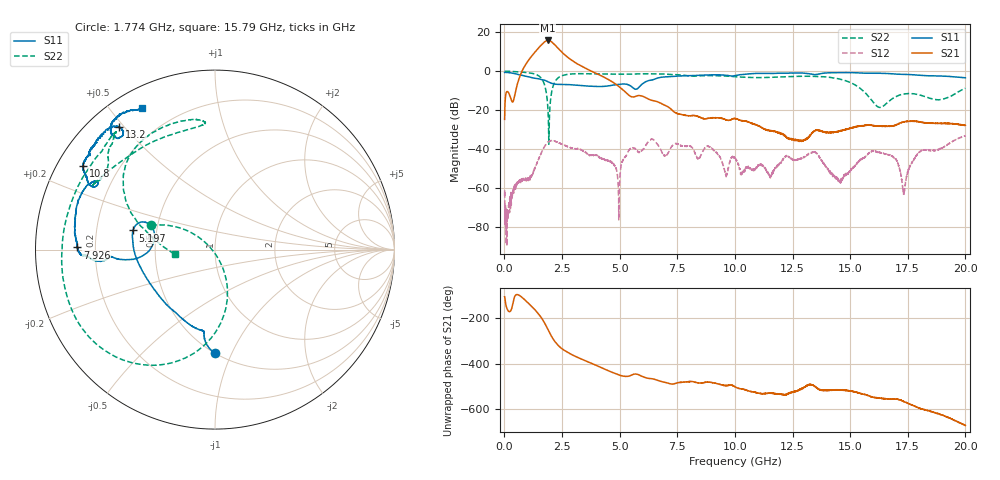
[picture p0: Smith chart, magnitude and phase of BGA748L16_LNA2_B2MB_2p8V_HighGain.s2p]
! S-Parameter file
! MATLAB S2P writer
! (c) DICE Linz
! Infineon Technologies
! Date: 08.04.2010 12:43
!BGA748L16_final_MB
!2.80V; 2.80V;
!25.00 deg
# MHZ S MA R 50
!  S11  S21  S12  S22
!  f  mag  angle  mag  angle  mag  angle  mag  angle
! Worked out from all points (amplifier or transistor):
!   4001 points, 10 MHz to 20 GHz, reference 50 ohm
!   highest |S21| = 15.8 dB at 1.889 GHz (marker M1)
!   |S21| within 3 dB of that: 1.547 GHz to 2.248 GHz (701.4 MHz wide, 37 % of centre)
!   unconditionally stable (mu >= 1): 12.75 MHz to end of sweep
!   at 3.338 GHz: K = 8.12, MAG = 9.5 dB, |S12| = -40.5 dB
!   at 10.01 GHz: K = 286.01, MAG = -17.2 dB, |S12| = -45.0 dB
!   at 20 GHz: K = 262.08, MAG = -24.5 dB, |S12| = -33.1 dB
!   lowest NFmin = 0.87 dB at 1.96 GHz
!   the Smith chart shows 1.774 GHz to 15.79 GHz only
!   S11 on the Smith chart (normalised r, x): 1.774 GHz: 0.50, -0.86; 5.197 GHz: 0.37, +0.10; 7.926 GHz: 0.13, +0.01; 10.8 GHz: 0.08, +0.29; 13.2 GHz: 0.09, +0.48; 15.79 GHz: 0.08, +0.61
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10  0.9299 -0.1  0.05772 -104.4  0.0006224 -41.2  1 -1.0
724.6425  0.7939 -41.4  0.8846 -104.2  0.001679 87.1  0.9546 -77.0
1239.385  0.6744 -65.5  2.683 -152.8  0.002423 124.9  0.8719 -130.7
1509.25  0.6316 -77.7  4.125 176.3  0.006028 130.8  0.7444 -161.3
1774.118  0.5765 -90.2  5.834 134.3  0.01245 106.0  0.3803 159.2
1889.06  0.5376 -94.4  6.17 111.6  0.01503 89.6  0.1057 142.8
2098.955  0.4781 -97.3  5.375 72.0  0.01639 59.3  0.3862 -83.7
2278.865  0.4599 -97.8  4.172 47.3  0.01519 41.2  0.6288 -105.7
2673.668  0.4541 -101.6  2.465 14.7  0.01205 19.0  0.8157 -133.2
3343.332  0.4288 -113.9  1.347 -18.7  0.009456 -1.4  0.8654 -158.3
5197.405  0.4686 166.8  0.3108 -94.3  0.005936 64.8  0.8377 141.5
6676.665  0.6755 -174.9  0.161 -113.1  0.0124 -75.6  0.852 130.9
7926.04  0.7662 179.1  0.07171 -118.6  0.01168 5.3  0.7651 141.0
10005  0.7711 152.8  0.06046 -140.3  0.005604 -129.6  0.723 138.9
10804.6  0.8705 147.6  0.0443 -163.6  0.002957 155.0  0.6875 113.5
13203.4  0.8647 128.0  0.02036 -131.2  0.007595 -38.8  0.7409 112.1
13338.33  0.8378 127.8  0.02512 -131.2  0.008199 -69.7  0.7395 115.4
14562.72  0.918 126.4  0.02863 -154.6  0.001473 146.3  0.6244 144.9
15792.1  0.8874 117.3  0.04108 -179.6  0.007651 109.2  0.227 -173.7
16671.67  0.8702 102.6  0.03855 165.3  0.007017 13.1  0.1658 -50.9
17331.33  0.8304 92.0  0.05012 153.2  0.0008192 -176.5  0.2594 -14.7
20000  0.6776 31.9  0.0407 49.3  0.02203 -28.1  0.363 173.8
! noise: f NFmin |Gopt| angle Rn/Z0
1960  0.87  0.4  98  6.5
